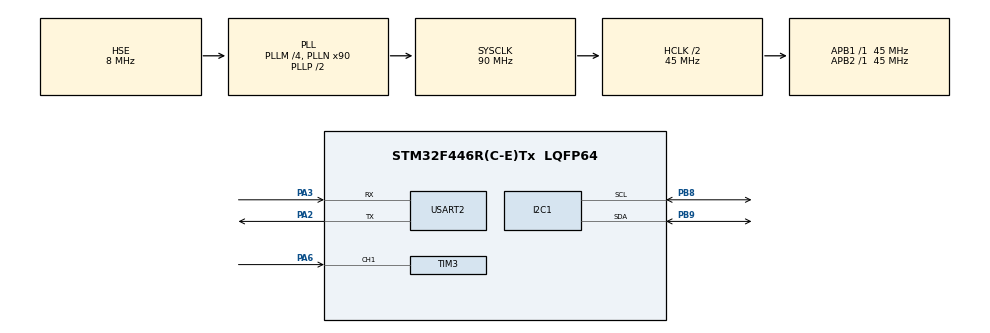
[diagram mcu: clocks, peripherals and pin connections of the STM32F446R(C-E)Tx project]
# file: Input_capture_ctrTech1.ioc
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Mcu.Family=STM32F4
Mcu.Name=STM32F446R(C-E)Tx
Mcu.Package=LQFP64
NVIC.PriorityGroup=NVIC_PRIORITYGROUP_0
NVIC.USART2_IRQn=true\:0\:0\:false\:false\:true\:true\:true
PA2.Mode=Asynchronous
PA2.Signal=USART2_TX
PA3.Mode=Asynchronous
PA3.Signal=USART2_RX
PA6.Signal=S_TIM3_CH1
PB8.Mode=I2C
PB8.Signal=I2C1_SCL
PB9.Mode=I2C
PB9.Signal=I2C1_SDA
PH0-OSC_IN.Mode=HSE-External-Oscillator
PH0-OSC_IN.Signal=RCC_OSC_IN
PH1-OSC_OUT.Mode=HSE-External-Oscillator
PH1-OSC_OUT.Signal=RCC_OSC_OUT
ProjectManager.HeapSize=0x200
ProjectManager.StackSize=0x400
ProjectManager.TargetToolchain=STM32CubeIDE
RCC.AHBCLKDivider=RCC_SYSCLK_DIV2
RCC.AHBFreq_Value=45000000
RCC.APB1Freq_Value=45000000
RCC.APB1TimFreq_Value=45000000
RCC.APB2Freq_Value=45000000
RCC.APB2TimFreq_Value=45000000
RCC.CortexFreq_Value=45000000
RCC.FLatency-AdvancedSettings=FLASH_LATENCY_1
RCC.HCLKFreq_Value=45000000
RCC.HSE_VALUE=8000000
RCC.HSI_VALUE=16000000
RCC.LSE_VALUE=32768
RCC.PLLM=4
RCC.PLLN=90
RCC.PLLSourceVirtual=RCC_PLLSOURCE_HSE
RCC.SYSCLKFreq_VALUE=90000000
RCC.SYSCLKSource=RCC_SYSCLKSOURCE_PLLCLK
RCC.USBFreq_Value=90000000
RCC.VCOOutputFreq_Value=180000000
SH.S_TIM3_CH1.0=TIM3_CH1,Input_Capture1_from_TI1
TIM3.Channel-Input_Capture1_from_TI1=TIM_CHANNEL_1
TIM3.Period=0xffff
USART2.VirtualMode=VM_ASYNC
board=NUCLEO-F446RE

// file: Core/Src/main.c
/* USER CODE BEGIN Header */
/**
  ******************************************************************************
  * @file           : main.c
  * @brief          : Main program body
  ******************************************************************************
  * @attention
  *
  * <h2><center>&copy; Copyright (c) 2020 STMicroelectronics.
  * All rights reserved.</center></h2>
  *
  * This software component is licensed by ST under BSD 3-Clause license,
  * the "License"; You may not use this file except in compliance with the
  * License. You may obtain a copy of the License at:
  *                        opensource.org/licenses/BSD-3-Clause
  *
  ******************************************************************************
  */
/* USER CODE END Header */

#include "main.h"

/* USER CODE BEGIN Includes */
#include <string.h>
#include <stdio.h>
#include <stdbool.h>
/* USER CODE END Includes */

I2C_HandleTypeDef hi2c1;

TIM_HandleTypeDef htim3;

UART_HandleTypeDef huart2;

void SystemClock_Config(void);
static void MX_GPIO_Init(void);
static void MX_I2C1_Init(void);
static void MX_TIM3_Init(void);
static void MX_USART2_UART_Init(void);

/* USER CODE BEGIN 0 */
char uartData[3000];
uint32_t IC_Value1 = 0; //First TimeStamp
uint32_t IC_Value2 = 0;//Second TimeStamp
uint32_t Difference = 0;//period
uint32_t Frequency = 0;//frequency
uint8_t Is_First_Captured = 0;  // 0- not captured, 1- captured

void HAL_TIM_IC_CaptureCallback(TIM_HandleTypeDef *htim)
{
	if (htim->Channel == HAL_TIM_ACTIVE_CHANNEL_1)  // if interrput source is channel 1
	{
		if (Is_First_Captured==0)  // is the first value captured ?
		{
			IC_Value1 = HAL_TIM_ReadCapturedValue(htim, TIM_CHANNEL_1);  // capture the first value
			Is_First_Captured =1;  // set the first value captured as true
		}
		else if (Is_First_Captured)  // if the first is captured
		{
			IC_Value2 = HAL_TIM_ReadCapturedValue(htim, TIM_CHANNEL_1);  // capture second value

			if (IC_Value2 > IC_Value1)
			{
				Difference = IC_Value2-IC_Value1;   // calculate the difference
			}

			else if (IC_Value2 < IC_Value1)
			{
				Difference = ((0xffff-IC_Value1)+IC_Value2) +1;
			}

			else
			{
				Error_Handler();
			}
			//frequency = TIM3 CLOCK / difference
			//In my case TIM3 clock is same as PCLK1 clock
			Frequency = HAL_RCC_GetPCLK1Freq()/Difference;  // calculate frequency
			sprintf(uartData,"F = %hu\r\n",Frequency);
			HAL_UART_Transmit(&huart2,uartData,strlen(uartData),10);
			Is_First_Captured = 0;  // reset the first captured
		}
	}
}
/* USER CODE END 0 */

int main(void)
{

  /* MCU Configuration--------------------------------------------------------*/

  /* Reset of all peripherals, Initializes the Flash interface and the Systick. */
  HAL_Init();

  /* Configure the system clock */
  SystemClock_Config();

  /* Initialize all configured peripherals */
  MX_GPIO_Init();
  MX_I2C1_Init();
  MX_TIM3_Init();
  MX_USART2_UART_Init();
  /* USER CODE BEGIN 2 */

  //start the Input capture in interrupt mode
  HAL_TIM_IC_Start_IT(&htim3,TIM_CHANNEL_1);
  /* USER CODE END 2 */

  /* Infinite loop */
  while (1)
  {

    /* USER CODE BEGIN 3 */
	  HAL_TIM_IC_CaptureCallback(&htim3);

  }
  /* USER CODE END 3 */
}

void SystemClock_Config(void)
{
  RCC_OscInitTypeDef RCC_OscInitStruct = {0};
  RCC_ClkInitTypeDef RCC_ClkInitStruct = {0};

  /** Configure the main internal regulator output voltage
  */
  __HAL_RCC_PWR_CLK_ENABLE();
  __HAL_PWR_VOLTAGESCALING_CONFIG(PWR_REGULATOR_VOLTAGE_SCALE3);
  /** Initializes the CPU, AHB and APB busses clocks
  */
  RCC_OscInitStruct.OscillatorType = RCC_OSCILLATORTYPE_HSE;
  RCC_OscInitStruct.HSEState = RCC_HSE_ON;
  RCC_OscInitStruct.PLL.PLLState = RCC_PLL_ON;
  RCC_OscInitStruct.PLL.PLLSource = RCC_PLLSOURCE_HSE;
  RCC_OscInitStruct.PLL.PLLM = 4;
  RCC_OscInitStruct.PLL.PLLN = 90;
  RCC_OscInitStruct.PLL.PLLP = RCC_PLLP_DIV2;
  RCC_OscInitStruct.PLL.PLLQ = 2;
  RCC_OscInitStruct.PLL.PLLR = 2;
  if (HAL_RCC_OscConfig(&RCC_OscInitStruct) != HAL_OK)
  {
    Error_Handler();
  }
  /** Initializes the CPU, AHB and APB busses clocks
  */
  RCC_ClkInitStruct.ClockType = RCC_CLOCKTYPE_HCLK|RCC_CLOCKTYPE_SYSCLK
                              |RCC_CLOCKTYPE_PCLK1|RCC_CLOCKTYPE_PCLK2;
  RCC_ClkInitStruct.SYSCLKSource = RCC_SYSCLKSOURCE_PLLCLK;
  RCC_ClkInitStruct.AHBCLKDivider = RCC_SYSCLK_DIV2;
  RCC_ClkInitStruct.APB1CLKDivider = RCC_HCLK_DIV1;
  RCC_ClkInitStruct.APB2CLKDivider = RCC_HCLK_DIV1;

  if (HAL_RCC_ClockConfig(&RCC_ClkInitStruct, FLASH_LATENCY_1) != HAL_OK)
  {
    Error_Handler();
  }
}

static void MX_I2C1_Init(void)
{

  hi2c1.Instance = I2C1;
  hi2c1.Init.ClockSpeed = 100000;
  hi2c1.Init.DutyCycle = I2C_DUTYCYCLE_2;
  hi2c1.Init.OwnAddress1 = 0;
  hi2c1.Init.AddressingMode = I2C_ADDRESSINGMODE_7BIT;
  hi2c1.Init.DualAddressMode = I2C_DUALADDRESS_DISABLE;
  hi2c1.Init.OwnAddress2 = 0;
  hi2c1.Init.GeneralCallMode = I2C_GENERALCALL_DISABLE;
  hi2c1.Init.NoStretchMode = I2C_NOSTRETCH_DISABLE;
  if (HAL_I2C_Init(&hi2c1) != HAL_OK)
  {
    Error_Handler();
  }

}

static void MX_TIM3_Init(void)
{

  TIM_MasterConfigTypeDef sMasterConfig = {0};
  TIM_IC_InitTypeDef sConfigIC = {0};

  htim3.Instance = TIM3;
  htim3.Init.Prescaler = 0;
  htim3.Init.CounterMode = TIM_COUNTERMODE_UP;
  htim3.Init.Period = 0xffff;
  htim3.Init.ClockDivision = TIM_CLOCKDIVISION_DIV1;
  htim3.Init.AutoReloadPreload = TIM_AUTORELOAD_PRELOAD_DISABLE;
  if (HAL_TIM_IC_Init(&htim3) != HAL_OK)
  {
    Error_Handler();
  }
  sMasterConfig.MasterOutputTrigger = TIM_TRGO_RESET;
  sMasterConfig.MasterSlaveMode = TIM_MASTERSLAVEMODE_DISABLE;
  if (HAL_TIMEx_MasterConfigSynchronization(&htim3, &sMasterConfig) != HAL_OK)
  {
    Error_Handler();
  }
  sConfigIC.ICPolarity = TIM_INPUTCHANNELPOLARITY_RISING;
  sConfigIC.ICSelection = TIM_ICSELECTION_DIRECTTI;
  sConfigIC.ICPrescaler = TIM_ICPSC_DIV1;
  sConfigIC.ICFilter = 0;
  if (HAL_TIM_IC_ConfigChannel(&htim3, &sConfigIC, TIM_CHANNEL_1) != HAL_OK)
  {
    Error_Handler();
  }

}

static void MX_USART2_UART_Init(void)
{

  huart2.Instance = USART2;
  huart2.Init.BaudRate = 115200;
  huart2.Init.WordLength = UART_WORDLENGTH_8B;
  huart2.Init.StopBits = UART_STOPBITS_1;
  huart2.Init.Parity = UART_PARITY_NONE;
  huart2.Init.Mode = UART_MODE_TX_RX;
  huart2.Init.HwFlowCtl = UART_HWCONTROL_NONE;
  huart2.Init.OverSampling = UART_OVERSAMPLING_16;
  if (HAL_UART_Init(&huart2) != HAL_OK)
  {
    Error_Handler();
  }

}

static void MX_GPIO_Init(void)
{

  /* GPIO Ports Clock Enable */
  __HAL_RCC_GPIOH_CLK_ENABLE();
  __HAL_RCC_GPIOA_CLK_ENABLE();
  __HAL_RCC_GPIOB_CLK_ENABLE();

}

void Error_Handler(void)
{
}

/************************ (C) COPYRIGHT STMicroelectronics *****END OF FILE****/
